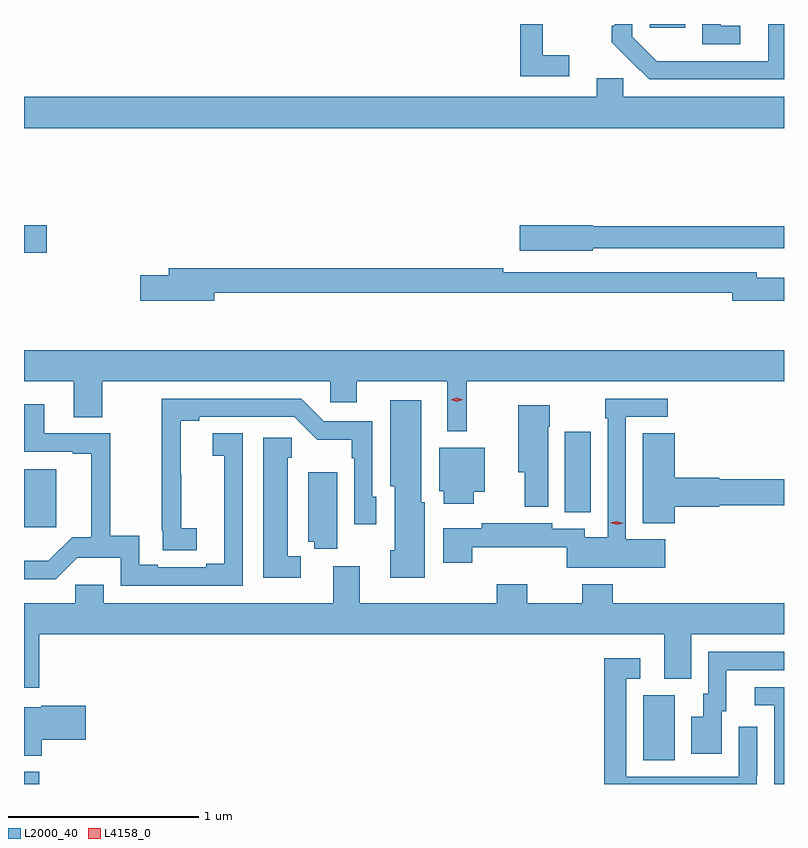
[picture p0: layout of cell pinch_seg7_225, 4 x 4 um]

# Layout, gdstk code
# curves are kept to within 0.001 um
import gdstk
lib = gdstk.Library(unit=1e-6, precision=1e-09)
def R(c, l, rs):  # rectangles x0, y0, x1, y1
    for r in rs: c.add(gdstk.rectangle(r[:2], r[2:], *l))
def P(c, l, *ps):  # polygons
    for p in ps: c.add(gdstk.Polygon(p, *l))
L2000_40 = (2000, 40)
L4158_0 = (4158, 0)

pinch_seg7_225 = lib.new_cell('pinch_seg7_225')
R(pinch_seg7_225, L2000_40, [(843.378,1077.084,843.457,1077.148), (846.638,1077.208,846.802,1077.552), (843.378,1078.436,843.547,1078.741), (846.224,1078.513,846.361,1078.939), (843.378,1079.879,843.499,1080.026), (846.671,1081.065,846.859,1081.084)])
P(pinch_seg7_225, L2000_40, [(846.247,1080.919),(846.107,1080.919),(846.107,1081.084),(845.989,1081.084),(845.989,1080.81),(846.247,1080.81)],
  [(847.378,1081.084),(847.295,1081.084),(847.295,1080.888),(846.708,1080.889),(846.579,1081.017),(846.579,1081.084),(846.486,1081.084),(846.486,1081.075),(846.471,1081.075),(846.471,1080.987),(846.668,1080.792),(847.378,1080.792)],
  [(847.147,1081.074),(847.044,1081.074),(847.044,1081.084),(846.948,1081.084),(846.948,1080.978),(847.147,1080.978)],
  [(847.378,1080.7),(846.531,1080.7),(846.531,1080.798),(846.392,1080.798),(846.392,1080.7),(843.378,1080.7),(843.378,1080.536),(847.378,1080.536)],
  [(846.372,1079.904),(847.33,1079.904),(847.33,1079.903),(847.378,1079.903),(847.378,1080.02),(846.372,1080.02),(846.372,1080.026),(845.988,1080.026),(845.988,1079.891),(846.372,1079.891)],
  [(844.378,1079.67),(847.106,1079.67),(847.106,1079.627),(847.378,1079.627),(847.378,1079.749),(847.234,1079.749),(847.234,1079.778),(845.9,1079.778),(845.9,1079.798),(844.139,1079.798),(844.139,1079.762),(843.99,1079.762),(843.99,1079.627),(844.378,1079.627)],
  [(845.708,1079.204),(847.378,1079.204),(847.378,1079.368),(843.378,1079.368),(843.378,1079.204),(843.641,1079.204),(843.641,1079.014),(843.789,1079.014),(843.789,1079.204),(844.989,1079.204),(844.989,1079.094),(845.128,1079.094),(845.128,1079.204),(845.606,1079.204),(845.606,1078.941),(845.708,1078.941)],
  [(846.754,1078.372),(846.546,1078.372),(846.546,1079.016),(846.766,1079.016),(846.766,1079.112),(846.438,1079.112),(846.438,1079.009),(846.45,1079.009),(846.45,1078.384),(846.33,1078.384),(846.33,1078.428),(846.159,1078.428),(846.159,1078.456),(845.787,1078.456),(845.787,1078.429),(845.585,1078.429),(845.585,1078.248),(845.738,1078.248),(845.738,1078.331),(846.234,1078.331),(846.234,1078.223),(846.754,1078.223)],
  [(844.288,1078.43),(844.206,1078.43),(844.204,1078.996),(844.3,1078.996),(844.3,1079.016),(844.8,1079.016),(844.921,1078.895),(845.103,1078.895),(845.103,1078.799),(845.115,1078.799),(845.115,1078.452),(845.232,1078.452),(845.232,1078.596),(845.211,1078.596),(845.211,1078.992),(844.956,1078.992),(844.836,1079.112),(844.102,1079.112),(844.102,1078.417),(844.108,1078.417),(844.108,1078.315),(844.288,1078.315)],
  [(845.488,1078.566),(845.47,1078.566),(845.47,1079.104),(845.306,1079.104),(845.306,1078.65),(845.33,1078.65),(845.33,1078.314),(845.306,1078.314),(845.306,1078.17),(845.488,1078.17)],
  [(844.53,1078.931),(844.371,1078.931),(844.371,1078.811),(844.432,1078.811),(844.433,1078.244),(844.337,1078.244),(844.337,1078.224),(844.081,1078.224),(844.081,1078.238),(843.984,1078.238),(843.984,1078.391),(843.833,1078.391),(843.833,1078.929),(843.484,1078.929),(843.484,1079.083),(843.378,1079.083),(843.378,1078.833),(843.635,1078.833),(843.635,1078.821),(843.731,1078.821),(843.731,1078.384),(843.631,1078.384),(843.505,1078.258),(843.378,1078.258),(843.378,1078.161),(843.546,1078.161),(843.659,1078.274),(843.888,1078.274),(843.888,1078.128),(844.53,1078.128)],
  [(846.136,1078.964),(846.144,1078.964),(846.144,1079.077),(845.978,1079.077),(845.978,1078.724),(846.014,1078.724),(846.014,1078.542),(846.136,1078.542)],
  [(846.802,1078.544),(847.038,1078.544),(847.038,1078.552),(847.378,1078.552),(847.378,1078.688),(847.038,1078.688),(847.038,1078.696),(846.802,1078.696),(846.802,1078.931),(846.635,1078.931),(846.635,1078.457),(846.802,1078.457)],
  [(844.834,1078.284),(844.765,1078.284),(844.765,1078.8),(844.787,1078.8),(844.787,1078.906),(844.637,1078.906),(844.637,1078.169),(844.834,1078.169)],
  [(845.746,1078.622),(845.803,1078.622),(845.803,1078.855),(845.564,1078.855),(845.564,1078.626),(845.588,1078.626),(845.588,1078.559),(845.746,1078.559)],
  [(845.026,1078.726),(844.874,1078.726),(844.874,1078.358),(844.906,1078.358),(844.906,1078.321),(845.026,1078.321)],
  [(846.749,1077.637),(846.889,1077.637),(846.889,1077.872),(847.378,1077.872),(847.378,1078.036),(846.476,1078.036),(846.476,1078.135),(846.316,1078.135),(846.316,1078.036),(846.027,1078.036),(846.027,1078.135),(845.867,1078.135),(845.867,1078.036),(845.146,1078.036),(845.146,1078.231),(845.006,1078.231),(845.006,1078.036),(843.799,1078.036),(843.799,1078.134),(843.648,1078.134),(843.648,1078.036),(843.378,1078.036),(843.378,1077.591),(843.457,1077.591),(843.457,1077.872),(846.749,1077.872)],
  [(847.051,1077.468),(847.075,1077.468),(847.075,1077.684),(847.378,1077.684),(847.378,1077.78),(846.978,1077.78),(846.978,1077.558),(846.953,1077.558),(846.953,1077.439),(846.89,1077.439),(846.89,1077.243),(847.051,1077.243)],
  [(847.235,1077.13),(847.236,1077.13),(847.236,1077.385),(847.14,1077.385),(847.14,1077.123),(846.549,1077.123),(846.549,1077.639),(846.622,1077.639),(846.622,1077.745),(846.433,1077.745),(846.433,1077.084),(847.235,1077.084)],
  [(847.378,1077.594),(847.224,1077.594),(847.224,1077.498),(847.326,1077.498),(847.326,1077.084),(847.378,1077.084)],
  [(843.472,1077.317),(843.703,1077.317),(843.703,1077.495),(843.468,1077.495),(843.468,1077.487),(843.378,1077.487),(843.378,1077.233),(843.472,1077.233)])
P(pinch_seg7_225, L4158_0, [(846.497,1078.448),(846.463,1078.458),(846.462,1078.458),(846.463,1078.458),(846.497,1078.468),(846.532,1078.457),(846.532,1078.457),(846.532,1078.457)],
  [(845.656,1079.096),(845.623,1079.106),(845.623,1079.106),(845.623,1079.106),(845.656,1079.116),(845.688,1079.106),(845.688,1079.106),(845.688,1079.106)])

lib.write_gds('pinch_seg7_225.gds')
